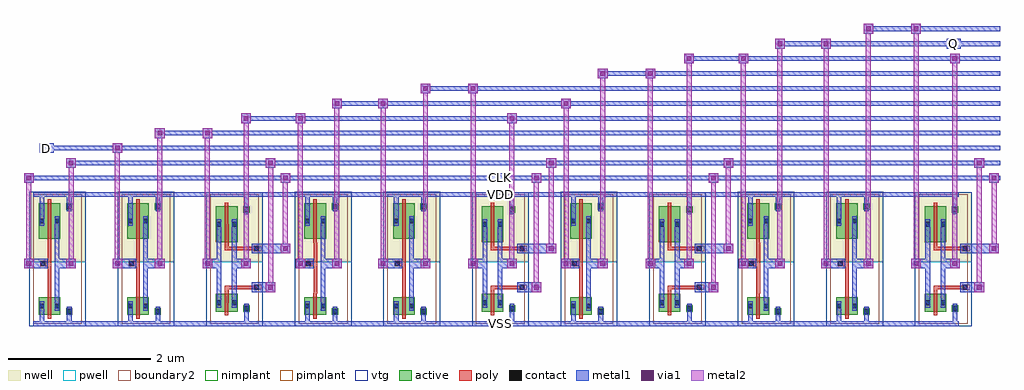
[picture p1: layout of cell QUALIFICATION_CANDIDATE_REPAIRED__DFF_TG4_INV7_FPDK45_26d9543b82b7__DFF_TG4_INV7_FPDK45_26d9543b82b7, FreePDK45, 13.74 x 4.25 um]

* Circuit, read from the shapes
.subckt QUALIFICATION_CANDIDATE_REPAIRED__DFF_TG4_INV7_FPDK45_26d9543b82b7__DFF_TG4_INV7_FPDK45_26d9543b82b7 CLK D Q VDD VSS
M1 n1 CLK VSS VSS nfet w=0.25u l=0.05u
M2 n2 D VSS VSS nfet w=0.25u l=0.05u
M3 n3 n1 n2 VSS nfet w=0.2505u l=0.0504u
M4 n4 n3 VSS VSS nfet w=0.25u l=0.05u
M5 n5 n4 VSS VSS nfet w=0.25u l=0.05u
M6 n3 CLK n5 VSS nfet w=0.2505u l=0.0504u
M7 n6 n4 VSS VSS nfet w=0.25u l=0.05u
M8 n7 CLK n6 VSS nfet w=0.2505u l=0.0504u
M9 Q n7 VSS VSS nfet w=0.25u l=0.05u
M10 n8 Q VSS VSS nfet w=0.25u l=0.05u
M11 n7 n1 n8 VSS nfet w=0.2505u l=0.0504u
M12 n1 CLK n9 n9 pfet w=0.5u l=0.05u
M13 n2 D n10 n10 pfet w=0.5u l=0.05u
M14 n3 CLK n2 n11 pfet w=0.5005u l=0.0504u
M15 n4 n3 n11 n11 pfet w=0.5u l=0.05u
M16 n5 n4 VDD VDD pfet w=0.5u l=0.05u
M17 n3 n1 n5 VDD pfet w=0.5005u l=0.0504u
M18 n6 n4 VDD VDD pfet w=0.5u l=0.05u
M19 n7 n1 n6 n12 pfet w=0.5005u l=0.0504u
M20 Q n7 n12 n12 pfet w=0.5u l=0.05u
M21 n8 Q n12 n12 pfet w=0.5u l=0.05u
M22 n7 CLK n8 n12 pfet w=0.5005u l=0.0504u
.ends

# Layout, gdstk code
import gdstk
lib = gdstk.Library(unit=1e-6, precision=1e-09)
def R(c, l, rs):  # rectangles x0, y0, x1, y1
    for r in rs: c.add(gdstk.rectangle(r[:2], r[2:], *l))
active = (1, 0)
pwell = (2, 0)
nwell = (3, 0)
nimplant = (4, 0)
pimplant = (5, 0)
vtg = (6, 0)
poly = (9, 0)
contact = (10, 0)
metal1 = (11, 0)
via1 = (12, 0)
metal2 = (13, 0)
boundary2 = (239, 0)

qualification_candidate_ = lib.new_cell('QUALIFICATION_CANDIDATE_REPAIRED__DFF_TG4_INV7_FPDK45_26d9543b82b7__COMPOSE_CHILD__PINV_NW250_PW500_L50__PINV_NW250_PW500_L50__TRANSMISSION_GATE_NW250_PW500_L50_contact_8')
R(qualification_candidate_, active, [(0,0.022,0.09,0.112)])
R(qualification_candidate_, nwell, [(-0.055,-0.033,0.145,0.168)])
R(qualification_candidate_, pimplant, [(0,0.022,0.09,0.112)])
R(qualification_candidate_, contact, [(0.013,0.035,0.077,0.1)])
R(qualification_candidate_, metal1, [(0.013,0,0.077,0.135)])
R(qualification_candidate_, boundary2, [(-0.055,-0.033,0.145,0.168)])

c_qualification_candidate_ = lib.new_cell('QUALIFICATION_CANDIDATE_REPAIRED__DFF_TG4_INV7_FPDK45_26d9543b82b7__COMPOSE_CHILD__PINV_NW250_PW500_L50__PINV_NW250_PW500_L50__PINV_NW250_PW500_L50_pmos_m1_w0_500_sm1_dm1_da_p')
R(c_qualification_candidate_, active, [(0,0,0.305,0.5)])
R(c_qualification_candidate_, nwell, [(-0.08,-0.08,0.385,0.58)])
R(c_qualification_candidate_, pimplant, [(0,0,0.305,0.5)])
R(c_qualification_candidate_, vtg, [(-0.08,-0.08,0.385,0.58)])
R(c_qualification_candidate_, poly, [(0.127,-0.055,0.177,0.555), (0.127,-0.055,0.177,0.555)])
R(c_qualification_candidate_, metal1, [(0.013,0.182,0.077,0.317), (0.227,0.182,0.292,0.317)])
R(c_qualification_candidate_, boundary2, [(-0.08,-0.08,0.385,0.58)])
c_qualification_candidate_.add(gdstk.Reference(qualification_candidate_, (0,0.182)))
c_qualification_candidate_.add(gdstk.Reference(qualification_candidate_, (0.215,0.182)))

c_qualification_candidate__ = lib.new_cell('QUALIFICATION_CANDIDATE_REPAIRED__DFF_TG4_INV7_FPDK45_26d9543b82b7__COMPOSE_CHILD__PINV_NW250_PW500_L50__PINV_NW250_PW500_L50__TRANSMISSION_GATE_NW250_PW500_L50_contact_7')
R(c_qualification_candidate__, active, [(0,0.022,0.09,0.112)])
R(c_qualification_candidate__, pwell, [(-0.055,-0.033,0.145,0.168)])
R(c_qualification_candidate__, nimplant, [(0,0.022,0.09,0.112)])
R(c_qualification_candidate__, contact, [(0.013,0.035,0.077,0.1)])
R(c_qualification_candidate__, metal1, [(0.013,0,0.077,0.135)])
R(c_qualification_candidate__, boundary2, [(-0.055,-0.033,0.145,0.168)])

c_qualification_candidate___ = lib.new_cell('QUALIFICATION_CANDIDATE_REPAIRED__DFF_TG4_INV7_FPDK45_26d9543b82b7__COMPOSE_CHILD__PINV_NW250_PW500_L50__PINV_NW250_PW500_L50__PINV_NW250_PW500_L50_nmos_m1_w0_250_sm1_dm1_da_p')
R(c_qualification_candidate___, active, [(0,0,0.305,0.25)])
R(c_qualification_candidate___, pwell, [(-0.08,-0.08,0.385,0.33)])
R(c_qualification_candidate___, nimplant, [(0,0,0.305,0.25)])
R(c_qualification_candidate___, vtg, [(-0.08,-0.08,0.385,0.33)])
R(c_qualification_candidate___, poly, [(0.127,-0.055,0.177,0.305), (0.127,-0.055,0.177,0.305)])
R(c_qualification_candidate___, metal1, [(0.013,0.057,0.077,0.192), (0.227,0.057,0.292,0.192)])
R(c_qualification_candidate___, boundary2, [(-0.08,-0.08,0.385,0.33)])
c_qualification_candidate___.add(gdstk.Reference(c_qualification_candidate__, (0,0.057)))
c_qualification_candidate___.add(gdstk.Reference(c_qualification_candidate__, (0.215,0.057)))

c_qualification_candidate____ = lib.new_cell('QUALIFICATION_CANDIDATE_REPAIRED__DFF_TG4_INV7_FPDK45_26d9543b82b7__COMPOSE_CHILD__PINV_NW250_PW500_L50__PINV_NW250_PW500_L50__TRANSMISSION_GATE_NW250_PW500_L50_contact_9')
R(c_qualification_candidate____, active, [(0,0.022,0.09,0.112)])
R(c_qualification_candidate____, nwell, [(-0.055,-0.033,0.145,0.168)])
R(c_qualification_candidate____, nimplant, [(0,0.022,0.09,0.112)])
R(c_qualification_candidate____, contact, [(0.013,0.035,0.077,0.1)])
R(c_qualification_candidate____, metal1, [(0.013,0,0.077,0.135)])
R(c_qualification_candidate____, boundary2, [(-0.055,-0.033,0.145,0.168)])

c_qualification_candidate_____ = lib.new_cell('QUALIFICATION_CANDIDATE_REPAIRED__DFF_TG4_INV7_FPDK45_26d9543b82b7__COMPOSE_CHILD__PINV_NW250_PW500_L50__PINV_NW250_PW500_L50__TRANSMISSION_GATE_NW250_PW500_L50_contact_10')
R(c_qualification_candidate_____, active, [(0,0.022,0.09,0.112)])
R(c_qualification_candidate_____, pwell, [(-0.055,-0.033,0.145,0.168)])
R(c_qualification_candidate_____, pimplant, [(0,0.022,0.09,0.112)])
R(c_qualification_candidate_____, contact, [(0.013,0.035,0.077,0.1)])
R(c_qualification_candidate_____, metal1, [(0.013,0,0.077,0.135)])
R(c_qualification_candidate_____, boundary2, [(-0.055,-0.033,0.145,0.168)])

c_qualification_candidate______ = lib.new_cell('QUALIFICATION_CANDIDATE_REPAIRED__DFF_TG4_INV7_FPDK45_26d9543b82b7__COMPOSE_CHILD__PINV_NW250_PW500_L50__PINV_NW250_PW500_L50__PINV_NW180_PW270_L50_contact_11')
R(c_qualification_candidate______, poly, [(0.03,0,0.105,0.075)])
R(c_qualification_candidate______, contact, [(0.035,0.005,0.1,0.07)])
R(c_qualification_candidate______, metal1, [(0,0.005,0.135,0.07)])
R(c_qualification_candidate______, boundary2, [(0,0,0.135,0.075)])

c_qualification_candidate_______ = lib.new_cell('QUALIFICATION_CANDIDATE_REPAIRED__DFF_TG4_INV7_FPDK45_26d9543b82b7__COMPOSE_CHILD__PINV_NW250_PW500_L50__PINV_NW250_PW500_L50__PINV_NW250_PW500_L50_core')
R(c_qualification_candidate_______, pwell, [(-0.055,-0.033,0.743,0.873)])
R(c_qualification_candidate_______, nwell, [(-0.055,0.873,0.743,1.855)])
R(c_qualification_candidate_______, vtg, [(-0.055,-0.033,0.743,0.873), (-0.055,0.873,0.743,1.855)])
R(c_qualification_candidate_______, poly, [(0.208,0.43,0.258,1.14), (0.14,0.81,0.208,0.885)])
R(c_qualification_candidate_______, metal1, [(0,-0.033,0.687,0.033), (0.092,-0.033,0.157,0.182), (0.478,0,0.542,0.17), (0.307,0.182,0.372,1.512), (0.072,0.815,0.208,0.88), (0.34,0.815,0.405,0.88), (0.092,1.377,0.157,1.852), (0.478,1.65,0.542,1.82), (0,1.787,0.687,1.852)])
R(c_qualification_candidate_______, boundary2, [(0,0,0.687,1.82), (0,0,0.687,1.82)])
c_qualification_candidate_______.add(gdstk.Reference(c_qualification_candidate_, (0.08,1.195)))
c_qualification_candidate_______.add(gdstk.Reference(c_qualification_candidate___, (0.08,0.125)))
c_qualification_candidate_______.add(gdstk.Reference(c_qualification_candidate____, (0.465,1.582)))
c_qualification_candidate_______.add(gdstk.Reference(c_qualification_candidate_____, (0.465,0.103)))
c_qualification_candidate_______.add(gdstk.Reference(c_qualification_candidate______, (0.072,0.81)))

c_qualification_candidate________ = lib.new_cell('QUALIFICATION_CANDIDATE_REPAIRED__DFF_TG4_INV7_FPDK45_26d9543b82b7__COMPOSE_CHILD__PINV_NW250_PW500_L50__PINV_NW250_PW500_L50__PINV_NW250_PW500_L50')
R(c_qualification_candidate________, metal1, [(0,-0.033,0.687,0.033), (0.072,0.815,0.208,0.88), (0.34,0.815,0.405,0.88), (0,1.787,0.687,1.852)])
R(c_qualification_candidate________, boundary2, [(0,0,0.687,1.82)])
c_qualification_candidate________.add(gdstk.Reference(c_qualification_candidate_______, (0,0)))

c_qualification_candidate_________ = lib.new_cell('QUALIFICATION_CANDIDATE_REPAIRED__DFF_TG4_INV7_FPDK45_26d9543b82b7__COMPOSE_CHILD__TRANSMISSION_GATE_NW250_PW500_L50__TRANSMISSION_GATE_NW250_PW500_L50__TRANSMISSION_GATE_NW250_PW500_L50_contact_8')
R(c_qualification_candidate_________, active, [(0,0.022,0.09,0.112)])
R(c_qualification_candidate_________, nwell, [(-0.055,-0.033,0.145,0.168)])
R(c_qualification_candidate_________, pimplant, [(0,0.022,0.09,0.112)])
R(c_qualification_candidate_________, contact, [(0.013,0.035,0.077,0.1)])
R(c_qualification_candidate_________, metal1, [(0.013,0,0.077,0.135)])
R(c_qualification_candidate_________, boundary2, [(-0.055,-0.033,0.145,0.168)])

c_qualification_candidate__________ = lib.new_cell('QUALIFICATION_CANDIDATE_REPAIRED__DFF_TG4_INV7_FPDK45_26d9543b82b7__COMPOSE_CHILD__TRANSMISSION_GATE_NW250_PW500_L50__TRANSMISSION_GATE_NW250_PW500_L50__TRANSMISSION_GATE_NW250_PW500_L50_pmos_m1_w0_500_sm1_dm1')
R(c_qualification_candidate__________, active, [(0,0,0.305,0.5)])
R(c_qualification_candidate__________, nwell, [(-0.08,-0.08,0.385,0.58)])
R(c_qualification_candidate__________, pimplant, [(0,0,0.305,0.5)])
R(c_qualification_candidate__________, vtg, [(-0.08,-0.08,0.385,0.58)])
R(c_qualification_candidate__________, poly, [(0.127,-0.055,0.177,0.555), (0.127,-0.055,0.177,0.555)])
R(c_qualification_candidate__________, metal1, [(0.013,0.182,0.077,0.317), (0.227,0.182,0.292,0.317)])
R(c_qualification_candidate__________, boundary2, [(-0.08,-0.08,0.385,0.58)])
c_qualification_candidate__________.add(gdstk.Reference(c_qualification_candidate_________, (0,0.182)))
c_qualification_candidate__________.add(gdstk.Reference(c_qualification_candidate_________, (0.215,0.182)))

c_qualification_candidate___________ = lib.new_cell('QUALIFICATION_CANDIDATE_REPAIRED__DFF_TG4_INV7_FPDK45_26d9543b82b7__COMPOSE_CHILD__TRANSMISSION_GATE_NW250_PW500_L50__TRANSMISSION_GATE_NW250_PW500_L50__TRANSMISSION_GATE_NW250_PW500_L50_contact_7')
R(c_qualification_candidate___________, active, [(0,0.022,0.09,0.112)])
R(c_qualification_candidate___________, pwell, [(-0.055,-0.033,0.145,0.168)])
R(c_qualification_candidate___________, nimplant, [(0,0.022,0.09,0.112)])
R(c_qualification_candidate___________, contact, [(0.013,0.035,0.077,0.1)])
R(c_qualification_candidate___________, metal1, [(0.013,0,0.077,0.135)])
R(c_qualification_candidate___________, boundary2, [(-0.055,-0.033,0.145,0.168)])

c_qualification_candidate____________ = lib.new_cell('QUALIFICATION_CANDIDATE_REPAIRED__DFF_TG4_INV7_FPDK45_26d9543b82b7__COMPOSE_CHILD__TRANSMISSION_GATE_NW250_PW500_L50__TRANSMISSION_GATE_NW250_PW500_L50__TRANSMISSION_GATE_NW250_PW500_L50_nmos_m1_w0_250_sm1_dm1')
R(c_qualification_candidate____________, active, [(0,0,0.305,0.25)])
R(c_qualification_candidate____________, pwell, [(-0.08,-0.08,0.385,0.33)])
R(c_qualification_candidate____________, nimplant, [(0,0,0.305,0.25)])
R(c_qualification_candidate____________, vtg, [(-0.08,-0.08,0.385,0.33)])
R(c_qualification_candidate____________, poly, [(0.127,-0.055,0.177,0.305), (0.127,-0.055,0.177,0.305)])
R(c_qualification_candidate____________, metal1, [(0.013,0.057,0.077,0.192), (0.227,0.057,0.292,0.192)])
R(c_qualification_candidate____________, boundary2, [(-0.08,-0.08,0.385,0.33)])
c_qualification_candidate____________.add(gdstk.Reference(c_qualification_candidate___________, (0,0.057)))
c_qualification_candidate____________.add(gdstk.Reference(c_qualification_candidate___________, (0.215,0.057)))

c_qualification_candidate_____________ = lib.new_cell('QUALIFICATION_CANDIDATE_REPAIRED__DFF_TG4_INV7_FPDK45_26d9543b82b7__COMPOSE_CHILD__TRANSMISSION_GATE_NW250_PW500_L50__TRANSMISSION_GATE_NW250_PW500_L50__TRANSMISSION_GATE_NW250_PW500_L50_contact_9')
R(c_qualification_candidate_____________, active, [(0,0.022,0.09,0.112)])
R(c_qualification_candidate_____________, nwell, [(-0.055,-0.033,0.145,0.168)])
R(c_qualification_candidate_____________, nimplant, [(0,0.022,0.09,0.112)])
R(c_qualification_candidate_____________, contact, [(0.013,0.035,0.077,0.1)])
R(c_qualification_candidate_____________, metal1, [(0.013,0,0.077,0.135)])
R(c_qualification_candidate_____________, boundary2, [(-0.055,-0.033,0.145,0.168)])

c_qualification_candidate______________ = lib.new_cell('QUALIFICATION_CANDIDATE_REPAIRED__DFF_TG4_INV7_FPDK45_26d9543b82b7__COMPOSE_CHILD__TRANSMISSION_GATE_NW250_PW500_L50__TRANSMISSION_GATE_NW250_PW500_L50__TRANSMISSION_GATE_NW250_PW500_L50_contact_10')
R(c_qualification_candidate______________, active, [(0,0.022,0.09,0.112)])
R(c_qualification_candidate______________, pwell, [(-0.055,-0.033,0.145,0.168)])
R(c_qualification_candidate______________, pimplant, [(0,0.022,0.09,0.112)])
R(c_qualification_candidate______________, contact, [(0.013,0.035,0.077,0.1)])
R(c_qualification_candidate______________, metal1, [(0.013,0,0.077,0.135)])
R(c_qualification_candidate______________, boundary2, [(-0.055,-0.033,0.145,0.168)])

c_qualification_candidate_______________ = lib.new_cell('QUALIFICATION_CANDIDATE_REPAIRED__DFF_TG4_INV7_FPDK45_26d9543b82b7__COMPOSE_CHILD__TRANSMISSION_GATE_NW250_PW500_L50__TRANSMISSION_GATE_NW250_PW500_L50__TRANSMISSION_GATE_NW250_PW500_L50_contact_11')
R(c_qualification_candidate_______________, poly, [(0.03,0,0.105,0.075)])
R(c_qualification_candidate_______________, contact, [(0.035,0.005,0.1,0.07)])
R(c_qualification_candidate_______________, metal1, [(0,0.005,0.135,0.07)])
R(c_qualification_candidate_______________, boundary2, [(0,0,0.135,0.075)])

c_qualification_candidate________________ = lib.new_cell('QUALIFICATION_CANDIDATE_REPAIRED__DFF_TG4_INV7_FPDK45_26d9543b82b7__COMPOSE_CHILD__TRANSMISSION_GATE_NW250_PW500_L50__TRANSMISSION_GATE_NW250_PW500_L50__TRANSMISSION_GATE_NW250_PW500_L50_core')
R(c_qualification_candidate________________, pwell, [(-0.055,-0.033,0.743,0.873)])
R(c_qualification_candidate________________, nwell, [(-0.055,0.873,0.743,1.852)])
R(c_qualification_candidate________________, vtg, [(-0.055,-0.033,0.743,0.873), (-0.055,0.873,0.743,1.852)])
R(c_qualification_candidate________________, poly, [(0.208,0.295,0.258,0.512), (0.208,0.487,0.258,0.537), (0.232,0.487,0.65,0.537), (0.208,1.032,0.258,1.083), (0.232,1.032,0.65,1.083), (0.208,1.058,0.258,1.4)])
R(c_qualification_candidate________________, metal1, [(0,-0.033,0.56,0.033), (0.478,0,0.542,0.215), (0.092,0.227,0.157,1.467), (0.307,0.227,0.372,1.467), (0.583,0.48,0.718,0.545), (0.583,1.025,0.718,1.09), (0.478,1.605,0.542,1.82), (0,1.787,0.56,1.852)])
R(c_qualification_candidate________________, boundary2, [(0,0,0.687,1.82), (0,0,0.687,1.82)])
c_qualification_candidate________________.add(gdstk.Reference(c_qualification_candidate__________, (0.08,1.15)))
c_qualification_candidate________________.add(gdstk.Reference(c_qualification_candidate____________, (0.08,0.17)))
c_qualification_candidate________________.add(gdstk.Reference(c_qualification_candidate_____________, (0.465,1.538)))
c_qualification_candidate________________.add(gdstk.Reference(c_qualification_candidate______________, (0.465,0.147)))
c_qualification_candidate________________.add(gdstk.Reference(c_qualification_candidate_______________, (0.583,1.02)))
c_qualification_candidate________________.add(gdstk.Reference(c_qualification_candidate_______________, (0.583,0.475)))

c_qualification_candidate_________________ = lib.new_cell('QUALIFICATION_CANDIDATE_REPAIRED__DFF_TG4_INV7_FPDK45_26d9543b82b7__COMPOSE_CHILD__TRANSMISSION_GATE_NW250_PW500_L50__TRANSMISSION_GATE_NW250_PW500_L50__TRANSMISSION_GATE_NW250_PW500_L50')
R(c_qualification_candidate_________________, metal1, [(0,-0.033,0.56,0.033), (0.092,0.227,0.157,1.467), (0.307,0.227,0.372,1.467), (0.583,0.48,0.718,0.545), (0.583,1.025,0.718,1.09), (0,1.787,0.56,1.852)])
R(c_qualification_candidate_________________, boundary2, [(0,0,0.687,1.82)])
c_qualification_candidate_________________.add(gdstk.Reference(c_qualification_candidate________________, (0,0)))

c_qualification_candidate__________________ = lib.new_cell('QUALIFICATION_CANDIDATE_REPAIRED__DFF_TG4_INV7_FPDK45_26d9543b82b7__DFF_TG4_INV7_FPDK45_26d9543b82b7')
R(c_qualification_candidate__________________, metal1, [(0.743,0,1.302,0.065), (1.99,0,2.55,0.065), (3.11,0,3.797,0.065), (4.485,0,5.045,0.065), (5.732,0,6.293,0.065), (6.852,0,7.54,0.065), (8.228,0,8.787,0.065), (9.347,0,10.035,0.065), (10.722,0,11.283,0.065), (11.97,0,12.53,0.065), (3.133,0.478,3.4,0.613), (3.332,0.478,3.468,0.613), (6.875,0.478,7.142,0.613), (7.075,0.478,7.21,0.613), (9.37,0.478,9.638,0.613), (9.57,0.478,9.705,0.613), (13.113,0.478,13.38,0.613), (13.312,0.478,13.447,0.613), (-0.072,0.812,0.062,0.947), (-0.005,0.812,0.263,0.947), (0.395,0.812,0.593,0.947), (0.525,0.812,0.66,0.947), (1.175,0.812,1.31,0.947), (1.242,0.812,1.51,0.947), (1.642,0.812,1.84,0.947), (1.772,0.812,1.907,0.947), (2.442,0.812,2.578,0.947), (2.51,0.812,2.707,0.947), (2.857,0.812,3.055,0.947), (2.988,0.812,3.122,0.947), (3.752,0.812,3.887,0.947), (3.82,0.812,4.005,0.947), (4.138,0.812,4.335,0.947), (4.268,0.812,4.402,0.947), (4.918,0.812,5.053,0.947), (4.985,0.812,5.253,0.947), (5.385,0.812,5.583,0.947), (5.515,0.812,5.65,0.947), (6.185,0.812,6.32,0.947), (6.253,0.812,6.45,0.947), (6.6,0.812,6.798,0.947), (6.73,0.812,6.865,0.947), (7.495,0.812,7.63,0.947), (7.562,0.812,7.748,0.947), (7.88,0.812,8.078,0.947), (8.01,0.812,8.145,0.947), (8.68,0.812,8.815,0.947), (8.748,0.812,8.945,0.947), (9.095,0.812,9.293,0.947), (9.225,0.812,9.36,0.947), (9.99,0.812,10.125,0.947), (10.058,0.812,10.242,0.947), (10.375,0.812,10.572,0.947), (10.505,0.812,10.64,0.947), (11.155,0.812,11.29,0.947), (11.222,0.812,11.49,0.947), (11.623,0.812,11.82,0.947), (11.752,0.812,11.888,0.947), (12.422,0.812,12.558,0.947), (12.49,0.812,12.687,0.947), (12.837,0.812,13.035,0.947), (12.968,0.812,13.103,0.947), (3.133,1.022,3.61,1.157), (3.542,1.022,3.678,1.157), (6.875,1.022,7.352,1.157), (7.285,1.022,7.42,1.157), (9.37,1.022,9.847,1.157), (9.78,1.022,9.915,1.157), (13.113,1.022,13.59,1.157), (13.523,1.022,13.657,1.157), (0.743,1.82,1.302,1.885), (1.99,1.82,2.55,1.885), (3.11,1.82,3.797,1.885), (4.485,1.82,5.045,1.885), (5.732,1.82,6.293,1.885), (6.852,1.82,7.54,1.885), (8.228,1.82,8.787,1.885), (9.347,1.82,10.035,1.885), (10.722,1.82,11.283,1.885), (11.97,1.82,12.53,1.885), (-0.072,2.017,0.062,2.152), (3.542,2.017,3.678,2.152), (6.535,2.017,6.735,2.152), (7.075,2.017,7.21,2.152), (9.57,2.017,9.705,2.152), (13.523,2.017,13.657,2.152), (-0.005,2.053,13.672,2.118), (0.525,2.228,0.66,2.363), (3.332,2.228,3.468,2.363), (7.285,2.228,7.42,2.363), (9.78,2.228,9.915,2.363), (13.312,2.228,13.447,2.363), (0.593,2.263,13.672,2.328), (0.15,2.437,0.35,2.573), (1.175,2.437,1.31,2.573), (0.15,2.473,13.672,2.538), (1.772,2.647,1.907,2.783), (2.442,2.647,2.578,2.783), (1.84,2.683,13.672,2.747), (2.988,2.857,3.122,2.993), (3.752,2.857,3.887,2.993), (6.73,2.857,6.865,2.993), (3.055,2.892,13.672,2.957), (4.268,3.067,4.402,3.202), (4.918,3.067,5.053,3.202), (7.495,3.067,7.63,3.202), (4.335,3.102,13.672,3.167), (5.515,3.277,5.65,3.412), (6.185,3.277,6.32,3.412), (5.583,3.312,13.672,3.377), (8.01,3.488,8.145,3.622), (8.68,3.488,8.815,3.622), (8.078,3.522,13.672,3.587), (9.225,3.698,9.36,3.832), (9.99,3.698,10.125,3.832), (12.968,3.698,13.103,3.832), (9.293,3.732,13.672,3.797), (10.505,3.907,10.64,4.043), (11.155,3.907,11.29,4.043), (12.922,3.907,13.122,4.043), (10.572,3.942,13.672,4.008), (11.752,4.117,11.888,4.253), (12.422,4.117,12.558,4.253), (11.82,4.152,13.672,4.218)])
R(c_qualification_candidate__________________, via1, [(3.368,0.512,3.432,0.578), (7.11,0.512,7.175,0.578), (9.605,0.512,9.67,0.578), (13.347,0.512,13.412,0.578), (-0.037,0.847,0.027,0.912), (0.56,0.847,0.625,0.912), (1.21,0.847,1.275,0.912), (1.808,0.847,1.872,0.912), (2.477,0.847,2.542,0.912), (3.022,0.847,3.087,0.912), (3.787,0.847,3.852,0.912), (4.303,0.847,4.367,0.912), (4.952,0.847,5.017,0.912), (5.55,0.847,5.615,0.912), (6.22,0.847,6.285,0.912), (6.765,0.847,6.83,0.912), (7.53,0.847,7.595,0.912), (8.045,0.847,8.11,0.912), (8.715,0.847,8.78,0.912), (9.26,0.847,9.325,0.912), (10.025,0.847,10.09,0.912), (10.54,0.847,10.605,0.912), (11.19,0.847,11.255,0.912), (11.787,0.847,11.853,0.912), (12.457,0.847,12.523,0.912), (13.002,0.847,13.068,0.912), (3.577,1.058,3.642,1.123), (7.32,1.058,7.385,1.123), (9.815,1.058,9.88,1.123), (13.558,1.058,13.622,1.123), (-0.037,2.053,0.027,2.118), (3.577,2.053,3.642,2.118), (7.11,2.053,7.175,2.118), (9.605,2.053,9.67,2.118), (13.558,2.053,13.622,2.118), (0.56,2.263,0.625,2.328), (3.368,2.263,3.432,2.328), (7.32,2.263,7.385,2.328), (9.815,2.263,9.88,2.328), (13.347,2.263,13.412,2.328), (1.21,2.473,1.275,2.538), (1.808,2.683,1.872,2.747), (2.477,2.683,2.542,2.747), (3.022,2.892,3.087,2.957), (3.787,2.892,3.852,2.957), (6.765,2.892,6.83,2.957), (4.303,3.102,4.367,3.167), (4.952,3.102,5.017,3.167), (7.53,3.102,7.595,3.167), (5.55,3.312,5.615,3.377), (6.22,3.312,6.285,3.377), (8.045,3.522,8.11,3.587), (8.715,3.522,8.78,3.587), (9.26,3.732,9.325,3.797), (10.025,3.732,10.09,3.797), (13.002,3.732,13.068,3.797), (10.54,3.942,10.605,4.008), (11.19,3.942,11.255,4.008), (11.787,4.152,11.853,4.218), (12.457,4.152,12.523,4.218)])
R(c_qualification_candidate__________________, metal2, [(3.332,0.478,3.468,0.613), (7.075,0.478,7.21,0.613), (9.57,0.478,9.705,0.613), (13.312,0.478,13.447,0.613), (3.365,0.613,3.435,2.228), (7.107,0.613,7.177,2.017), (9.603,0.613,9.672,2.017), (13.345,0.613,13.415,2.228), (-0.072,0.812,0.062,0.947), (0.525,0.812,0.66,0.947), (1.175,0.812,1.31,0.947), (1.772,0.812,1.907,0.947), (2.442,0.812,2.578,0.947), (2.988,0.812,3.122,0.947), (3.752,0.812,3.887,0.947), (4.268,0.812,4.402,0.947), (4.918,0.812,5.053,0.947), (5.515,0.812,5.65,0.947), (6.185,0.812,6.32,0.947), (6.73,0.812,6.865,0.947), (7.495,0.812,7.63,0.947), (8.01,0.812,8.145,0.947), (8.68,0.812,8.815,0.947), (9.225,0.812,9.36,0.947), (9.99,0.812,10.125,0.947), (10.505,0.812,10.64,0.947), (11.155,0.812,11.29,0.947), (11.752,0.812,11.888,0.947), (12.422,0.812,12.558,0.947), (12.968,0.812,13.103,0.947), (-0.04,0.947,0.03,2.017), (0.557,0.947,0.628,2.228), (1.207,0.947,1.278,2.437), (1.805,0.947,1.875,2.647), (2.475,0.947,2.545,2.647), (3.02,0.947,3.09,2.857), (3.785,0.947,3.855,2.857), (4.3,0.947,4.37,3.067), (4.95,0.947,5.02,3.067), (5.548,0.947,5.617,3.277), (6.217,0.947,6.288,3.277), (6.762,0.947,6.833,2.857), (7.527,0.947,7.597,3.067), (8.042,0.947,8.113,3.488), (8.713,0.947,8.783,3.488), (9.258,0.947,9.328,3.698), (10.023,0.947,10.092,3.698), (10.537,0.947,10.607,3.907), (11.187,0.947,11.257,3.907), (11.785,0.947,11.855,4.117), (12.455,0.947,12.525,4.117), (13,0.947,13.07,3.698), (3.542,1.022,3.678,1.157), (7.285,1.022,7.42,1.157), (9.78,1.022,9.915,1.157), (13.523,1.022,13.657,1.157), (3.575,1.157,3.645,2.017), (7.317,1.157,7.387,2.228), (9.812,1.157,9.883,2.228), (13.555,1.157,13.625,2.017), (-0.072,2.017,0.062,2.152), (3.542,2.017,3.678,2.152), (7.075,2.017,7.21,2.152), (9.57,2.017,9.705,2.152), (13.523,2.017,13.657,2.152), (0.525,2.228,0.66,2.363), (3.332,2.228,3.468,2.363), (7.285,2.228,7.42,2.363), (9.78,2.228,9.915,2.363), (13.312,2.228,13.447,2.363), (1.175,2.437,1.31,2.573), (1.772,2.647,1.907,2.783), (2.442,2.647,2.578,2.783), (2.988,2.857,3.122,2.993), (3.752,2.857,3.887,2.993), (6.73,2.857,6.865,2.993), (4.268,3.067,4.402,3.202), (4.918,3.067,5.053,3.202), (7.495,3.067,7.63,3.202), (5.515,3.277,5.65,3.412), (6.185,3.277,6.32,3.412), (8.01,3.488,8.145,3.622), (8.68,3.488,8.815,3.622), (9.225,3.698,9.36,3.832), (9.99,3.698,10.125,3.832), (12.968,3.698,13.103,3.832), (10.505,3.907,10.64,4.043), (11.155,3.907,11.29,4.043), (11.752,4.117,11.888,4.253), (12.422,4.117,12.558,4.253)])
c_qualification_candidate__________________.add(gdstk.Reference(c_qualification_candidate________, (0.055,0.033)))
c_qualification_candidate__________________.add(gdstk.Reference(c_qualification_candidate________, (1.302,0.033)))
c_qualification_candidate__________________.add(gdstk.Reference(c_qualification_candidate_________________, (2.55,0.033)))
c_qualification_candidate__________________.add(gdstk.Reference(c_qualification_candidate________, (3.797,0.033)))
c_qualification_candidate__________________.add(gdstk.Reference(c_qualification_candidate________, (5.045,0.033)))
c_qualification_candidate__________________.add(gdstk.Reference(c_qualification_candidate_________________, (6.293,0.033)))
c_qualification_candidate__________________.add(gdstk.Reference(c_qualification_candidate________, (7.54,0.033)))
c_qualification_candidate__________________.add(gdstk.Reference(c_qualification_candidate_________________, (8.787,0.033)))
c_qualification_candidate__________________.add(gdstk.Reference(c_qualification_candidate________, (10.035,0.033)))
c_qualification_candidate__________________.add(gdstk.Reference(c_qualification_candidate________, (11.283,0.033)))
c_qualification_candidate__________________.add(gdstk.Reference(c_qualification_candidate_________________, (12.53,0.033)))
c_qualification_candidate__________________.add(gdstk.Label('CLK', (6.635,2.085), layer=11, texttype=0))
c_qualification_candidate__________________.add(gdstk.Label('D', (0.25,2.505), layer=11, texttype=0))
c_qualification_candidate__________________.add(gdstk.Label('Q', (13.023,3.975), layer=11, texttype=0))
c_qualification_candidate__________________.add(gdstk.Label('VDD', (6.636,1.852), layer=11, texttype=0))
c_qualification_candidate__________________.add(gdstk.Label('VSS', (6.636,0.033), layer=11, texttype=0))

lib.write_gds('QUALIFICATION_CANDIDATE_REPAIRED__DFF_TG4_INV7_FPDK45_26d9543b82b7__DFF_TG4_INV7_FPDK45_26d9543b82b7.gds')
